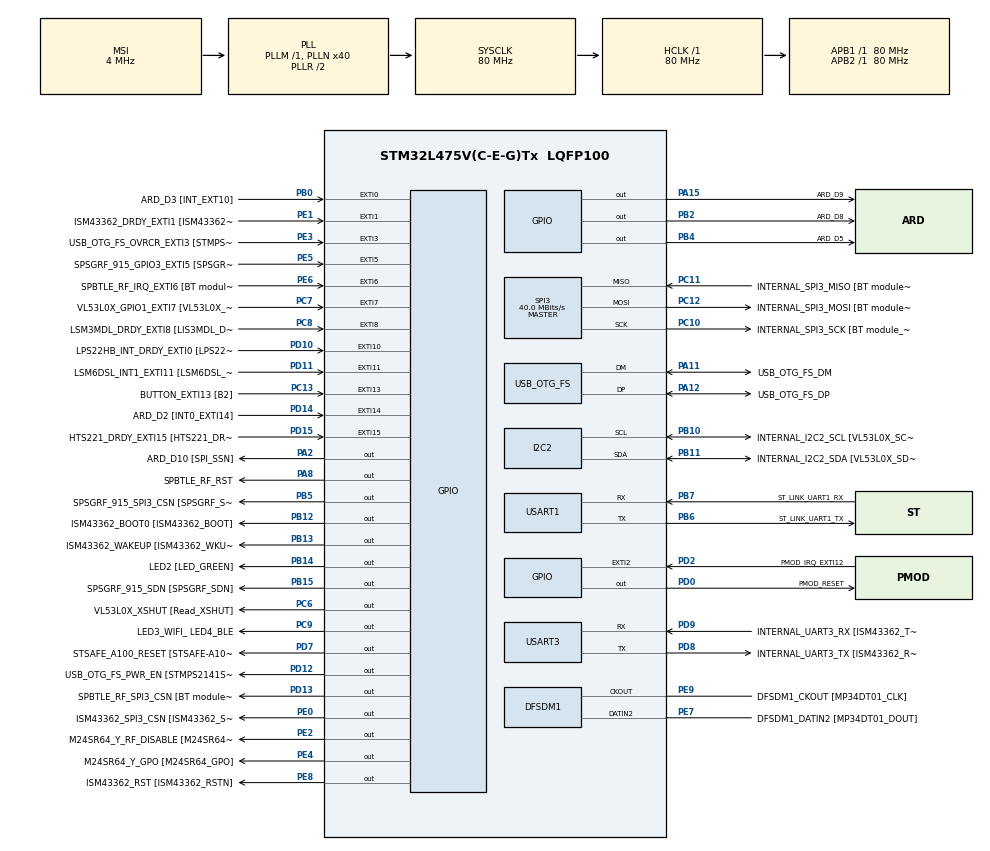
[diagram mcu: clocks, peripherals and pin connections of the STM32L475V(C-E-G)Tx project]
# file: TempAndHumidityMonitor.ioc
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Mcu.Family=STM32L4
Mcu.Name=STM32L475V(C-E-G)Tx
Mcu.Package=LQFP100
NVIC.EXTI15_10_IRQn=true\:0\:0\:false\:false\:true\:true
NVIC.EXTI9_5_IRQn=true\:0\:0\:false\:false\:true\:true
NVIC.PriorityGroup=NVIC_PRIORITYGROUP_4
NVIC.TIM1_BRK_TIM15_IRQn=true\:0\:0\:false\:false\:true\:true
PA0.GPIO_Label=ARD_D1 [UART4_TX]
PA0.Signal=UART4_TX
PA1.GPIO_Label=ARD_D0 [UART4_RX]
PA1.Signal=UART4_RX
PA10.GPIO_Label=USB_OTG_FS_ID
PA10.Signal=USB_OTG_FS_ID
PA11.GPIO_Label=USB_OTG_FS_DM
PA11.Mode=Device_Only
PA11.Signal=USB_OTG_FS_DM
PA12.GPIO_Label=USB_OTG_FS_DP
PA12.Mode=Device_Only
PA12.Signal=USB_OTG_FS_DP
PA13\ (JTMS-SWDIO).GPIO_Label=SYS_JTMS_SWDIO
PA13\ (JTMS-SWDIO).Mode=Serial_Wire
PA13\ (JTMS-SWDIO).Signal=SYS_JTMS-SWDIO
PA14\ (JTCK-SWCLK).GPIO_Label=SYS_JTCK_SWCLK
PA14\ (JTCK-SWCLK).Mode=Serial_Wire
PA14\ (JTCK-SWCLK).Signal=SYS_JTCK-SWCLK
PA15\ (JTDI).GPIO_Label=ARD_D9
PA15\ (JTDI).Signal=GPIO_Output
PA2.GPIO_Label=ARD_D10 [SPI_SSN]
PA2.Signal=GPIO_Output
PA3.GPIO_Label=ARD_D4
PA3.Signal=S_TIM2_CH4
PA4.GPIO_Label=ARD_D7
PA4.Signal=ADCx_IN9
PA5.GPIO_Label=ARD_D13 [SPI1_SCK]
PA5.Signal=SPI1_SCK
PA6.GPIO_Label=ARD_D12 [SPI1_MISO]
PA6.Signal=SPI1_MISO
PA7.GPIO_Label=ARD_D11 [SPI1_MOSI]
PA7.Signal=SPI1_MOSI
PA8.GPIO_Label=SPBTLE_RF_RST
PA8.Signal=GPIO_Output
PA9.GPIO_Label=USB_OTG_FS_VBUS [STMPS2141STR_OUT]
PA9.Signal=USB_OTG_FS_VBUS
PB0.GPIO_Label=ARD_D3 [INT_EXT10]
PB0.Signal=GPXTI0
PB1.GPIO_Label=ARD_D6 [ADC1_IN6]
PB1.Signal=ADCx_IN16
PB10.GPIO_Label=INTERNAL_I2C2_SCL [VL53L0X_SCL]
PB10.Mode=I2C
PB10.Signal=I2C2_SCL
PB11.GPIO_Label=INTERNAL_I2C2_SDA [VL53L0X_SDA]
PB11.Mode=I2C
PB11.Signal=I2C2_SDA
PB12.GPIO_Label=ISM43362_BOOT0 [ISM43362_BOOT]
PB12.Signal=GPIO_Output
PB13.GPIO_Label=ISM43362_WAKEUP [ISM43362_WKUP]
PB13.Signal=GPIO_Output
PB14.GPIO_Label=LED2 [LED_GREEN]
PB14.Signal=GPIO_Output
PB15.GPIO_Label=SPSGRF_915_SDN [SPSGRF_SDN]
PB15.Signal=GPIO_Output
PB2.GPIO_Label=ARD_D8
PB2.Signal=GPIO_Output
PB3\ (JTDO-TRACESWO).GPIO_Label=SYS_JTD0_SWO
PB3\ (JTDO-TRACESWO).Signal=SYS_JTDO-SWO
PB4\ (NJTRST).GPIO_Label=ARD_D5
PB4\ (NJTRST).Signal=GPIO_Output
PB5.GPIO_Label=SPSGRF_915_SPI3_CSN [SPSGRF_SPI_CS]
PB5.Signal=GPIO_Output
PB6.GPIO_Label=ST_LINK_UART1_TX
PB6.Mode=Asynchronous
PB6.Signal=USART1_TX
PB7.GPIO_Label=ST_LINK_UART1_RX
PB7.Mode=Asynchronous
PB7.Signal=USART1_RX
PB8.GPIO_Label=ARD_D15 [I2C1_SCL]
PB8.Signal=I2C1_SCL
PB9.GPIO_Label=ARD_D14 [I2C1_SDA]
PB9.Signal=I2C1_SDA
PC0.GPIO_Label=ARD_A5 [ADC]
PC0.Signal=ADCx_IN1
PC1.GPIO_Label=ARD_A4 [ADC]
PC1.Signal=ADCx_IN2
PC10.GPIO_Label=INTERNAL_SPI3_SCK [BT module_SPI_SCLK]
PC10.Mode=Full_Duplex_Master
PC10.Signal=SPI3_SCK
PC11.GPIO_Label=INTERNAL_SPI3_MISO [BT module_SPI_MISO]
PC11.Mode=Full_Duplex_Master
PC11.Signal=SPI3_MISO
PC12.GPIO_Label=INTERNAL_SPI3_MOSI [BT module_SPI_MOSI]
PC12.Mode=Full_Duplex_Master
PC12.Signal=SPI3_MOSI
PC13.GPIO_Label=BUTTON_EXTI13 [B2]
PC13.GPIO_ModeDefaultEXTI=GPIO_MODE_IT_FALLING
PC13.Signal=GPXTI13
PC14-OSC32_IN\ (PC14).Mode=LSE-External-Oscillator
PC14-OSC32_IN\ (PC14).Signal=RCC_OSC32_IN
PC15-OSC32_OUT\ (PC15).Mode=LSE-External-Oscillator
PC15-OSC32_OUT\ (PC15).Signal=RCC_OSC32_OUT
PC2.GPIO_Label=ARD_A3 [ADC]
PC2.Signal=ADCx_IN3
PC3.GPIO_Label=ARD_A2 [ADC]
PC3.Signal=ADCx_IN4
PC4.GPIO_Label=ARD_A1 [ADC]
PC4.Signal=ADCx_IN13
PC5.GPIO_Label=ARD_A0 [ADC]
PC5.Signal=ADCx_IN14
PC6.GPIO_Label=VL53L0X_XSHUT [Read_XSHUT]
PC6.Signal=GPIO_Output
PC7.GPIO_Label=VL53L0X_GPIO1_EXTI7 [VL53L0X_GPIO1]
PC7.Signal=GPXTI7
PC8.GPIO_Label=LSM3MDL_DRDY_EXTI8 [LIS3MDL_DRDY]
PC8.Signal=GPXTI8
PC9.GPIO_Label=LED3_WIFI_ LED4_BLE
PC9.Signal=GPIO_Output
PD0.GPIO_Label=PMOD_RESET
PD0.Signal=GPIO_Output
PD1.GPIO_Label=PMOD_SPI2_SCK
PD1.Signal=SPI2_SCK
PD10.GPIO_Label=LPS22HB_INT_DRDY_EXTI0 [LPS22HB_INT_DRDY] 
PD10.Signal=GPXTI10
PD11.GPIO_Label=LSM6DSL_INT1_EXTI11 [LSM6DSL_INT1]
PD11.Signal=GPXTI11
PD12.GPIO_Label=USB_OTG_FS_PWR_EN [STMPS2141STR_EN]
PD12.Signal=GPIO_Output
PD13.GPIO_Label=SPBTLE_RF_SPI3_CSN [BT module_SPI_CS]
PD13.Signal=GPIO_Output
PD14.GPIO_Label=ARD_D2 [INT0_EXTI14]
PD14.Signal=GPXTI14
PD15.GPIO_Label=HTS221_DRDY_EXTI15 [HTS221_DRDY]
PD15.Signal=GPXTI15
PD2.GPIO_Label=PMOD_IRQ_EXTI12
PD2.Signal=GPXTI2
PD3.GPIO_Label=PMOD_UART2_CTS
PD3.Signal=USART2_CTS
PD4.GPIO_Label=PMOD_UART2_RTS
PD4.Signal=USART2_RTS
PD5.GPIO_Label=PMOD_UART2_TX
PD5.Signal=USART2_TX
PD6.GPIO_Label=PMOD_UART2_RX
PD6.Signal=USART2_RX
PD7.GPIO_Label=STSAFE_A100_RESET [STSAFE-A100_RESET]
PD7.Signal=GPIO_Output
PD8.GPIO_Label=INTERNAL_UART3_TX [ISM43362_RX]
PD8.Mode=Asynchronous
PD8.Signal=USART3_TX
PD9.GPIO_Label=INTERNAL_UART3_RX [ISM43362_TX]
PD9.Mode=Asynchronous
PD9.Signal=USART3_RX
PE0.GPIO_Label=ISM43362_SPI3_CSN [ISM43362_SSN]
PE0.Signal=GPIO_Output
PE1.GPIO_Label=ISM43362_DRDY_EXTI1 [ISM43362_DATARDY]
PE1.Signal=GPXTI1
PE10.GPIO_Label=QUADSPI_CLK [MX25R6435F_SCLK]
PE10.Signal=QUADSPI_CLK
PE11.GPIO_Label=QUADSPI_NCS [MX25R6435F_SCLK]
PE11.Signal=QUADSPI_NCS
PE12.GPIO_Label=OQUADSPI_BK1_IO0 [MX25R6435F_IO0]
PE12.Signal=QUADSPI_BK1_IO0
PE13.GPIO_Label=QUADSPI_BK1_IO1 [MX25R6435F_IO1]
PE13.Signal=QUADSPI_BK1_IO1
PE14.GPIO_Label=QUAD_SPI_BK1_IO2 [MX25R6435F_IO2]
PE14.Signal=QUADSPI_BK1_IO2
PE15.GPIO_Label=QUAD_SPI_BK1_IO3 [MX25R6435F_IO3]
PE15.Signal=QUADSPI_BK1_IO3
PE2.GPIO_Label=M24SR64_Y_RF_DISABLE [M24SR64_RFDIS]
PE2.Signal=GPIO_Output
PE3.GPIO_Label=USB_OTG_FS_OVRCR_EXTI3 [STMPS2141STR_FAULT]
PE3.Signal=GPXTI3
PE4.GPIO_Label=M24SR64_Y_GPO [M24SR64_GPO]
PE4.Signal=GPIO_Output
PE5.GPIO_Label=SPSGRF_915_GPIO3_EXTI5 [SPSGRF_GPIO_3]
PE5.Signal=GPXTI5
PE6.GPIO_Label=SPBTLE_RF_IRQ_EXTI6 [BT module_SPI_IRQ]
PE6.Signal=GPXTI6
PE7.GPIO_Label=DFSDM1_DATIN2 [MP34DT01_DOUT]
PE7.Signal=S_DATAIN2DFSDM1
PE8.GPIO_Label=ISM43362_RST [ISM43362_RSTN]
PE8.Signal=GPIO_Output
PE9.GPIO_Label=DFSDM1_CKOUT [MP34DT01_CLK]
PE9.Signal=S_CKOUTDFSDM1
ProjectManager.HeapSize=0x200
ProjectManager.StackSize=0x400
ProjectManager.TargetToolchain=SW4STM32
RCC.ADCFreq_Value=48000000
RCC.AHBFreq_Value=80000000
RCC.APB1Freq_Value=80000000
RCC.APB1TimFreq_Value=80000000
RCC.APB2Freq_Value=80000000
RCC.APB2TimFreq_Value=80000000
RCC.CortexFreq_Value=80000000
RCC.HCLKFreq_Value=80000000
RCC.HSE_VALUE=8000000
RCC.HSI_VALUE=16000000
RCC.MSI_VALUE=4000000
RCC.PLLN=40
RCC.PLLSAI1N=24
RCC.SYSCLKFreq_VALUE=80000000
RCC.SYSCLKSource=RCC_SYSCLKSOURCE_PLLCLK
RCC.USBFreq_Value=48000000
RCC.VCOOutputFreq_Value=160000000
SH.ADCx_IN1.0=ADC1_IN1
SH.ADCx_IN13.0=ADC1_IN13
SH.ADCx_IN14.0=ADC1_IN14
SH.ADCx_IN16.0=ADC1_IN16
SH.ADCx_IN2.0=ADC1_IN2
SH.ADCx_IN3.0=ADC1_IN3
SH.ADCx_IN4.0=ADC1_IN4
SH.ADCx_IN9.0=ADC1_IN9
SH.S_CKOUTDFSDM1.0=DFSDM1_CKOUT,CKOUT
SH.S_CKOUTDFSDM1.1=DFSDM1_CKOUT,PDM_SPI_Input_from_ch12_and_Internal_Clock
SH.S_DATAIN2DFSDM1.0=DFSDM1_DATIN2,PDM_SPI_Input_from_ch12_and_Internal_Clock
SH.S_TIM2_CH4.0=TIM2_CH4
SPI3.CalculateBaudRate=40.0 MBits/s
SPI3.Direction=SPI_DIRECTION_2LINES
SPI3.Mode=SPI_MODE_MASTER
SPI3.VirtualType=VM_MASTER
TIM1.AutoReloadPreload=TIM_AUTORELOAD_PRELOAD_ENABLE
TIM1.Period=2048
TIM1.Prescaler=64
USART1.VirtualMode-Asynchronous=VM_ASYNC
USART3.VirtualMode-Asynchronous=VM_ASYNC
USB_OTG_FS.VirtualMode=Device_Only
VP_TIM1_VS_ClockSourceINT.Mode=Internal
board=B-L475E-IOT01A

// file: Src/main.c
/* USER CODE BEGIN Header */
/**
  ******************************************************************************
  * @file           : main.c
  * @brief          : Main program body
  * @Author			: Donald Posterick
  ******************************************************************************
  ** This notice applies to any and all portions of this file
  * that are not between comment pairs USER CODE BEGIN and
  * USER CODE END. Other portions of this file, whether
  * inserted by the user or by software development tools
  * are owned by their respective copyright owners.
  *
  * COPYRIGHT(c) 2019 STMicroelectronics
  *
  * Redistribution and use in source and binary forms, with or without modification,
  * are permitted provided that the following conditions are met:
  *   1. Redistributions of source code must retain the above copyright notice,
  *      this list of conditions and the following disclaimer.
  *   2. Redistributions in binary form must reproduce the above copyright notice,
  *      this list of conditions and the following disclaimer in the documentation
  *      and/or other materials provided with the distribution.
  *   3. Neither the name of STMicroelectronics nor the names of its contributors
  *      may be used to endorse or promote products derived from this software
  *      without specific prior written permission.
  *
  * THIS SOFTWARE IS PROVIDED BY THE COPYRIGHT HOLDERS AND CONTRIBUTORS "AS IS"
  * AND ANY EXPRESS OR IMPLIED WARRANTIES, INCLUDING, BUT NOT LIMITED TO, THE
  * IMPLIED WARRANTIES OF MERCHANTABILITY AND FITNESS FOR A PARTICULAR PURPOSE ARE
  * DISCLAIMED. IN NO EVENT SHALL THE COPYRIGHT HOLDER OR CONTRIBUTORS BE LIABLE
  * FOR ANY DIRECT, INDIRECT, INCIDENTAL, SPECIAL, EXEMPLARY, OR CONSEQUENTIAL
  * DAMAGES (INCLUDING, BUT NOT LIMITED TO, PROCUREMENT OF SUBSTITUTE GOODS OR
  * SERVICES; LOSS OF USE, DATA, OR PROFITS; OR BUSINESS INTERRUPTION) HOWEVER
  * CAUSED AND ON ANY THEORY OF LIABILITY, WHETHER IN CONTRACT, STRICT LIABILITY,
  * OR TORT (INCLUDING NEGLIGENCE OR OTHERWISE) ARISING IN ANY WAY OUT OF THE USE
  * OF THIS SOFTWARE, EVEN IF ADVISED OF THE POSSIBILITY OF SUCH DAMAGE.
  *
  ******************************************************************************
  */
/* USER CODE END Header */

#include <main.h>
#include <stm32_hal_legacy.h>
#include <stm32l475xx.h>
#include <stm32l4xx.h>
#include <stm32l4xx_hal_cortex.h>
#include <stm32l4xx_hal_def.h>
#include <stm32l4xx_hal_dfsdm.h>
#include <stm32l4xx_hal_flash.h>
#include <stm32l4xx_hal_gpio.h>
#include <stm32l4xx_hal_gpio_ex.h>
#include <stm32l4xx_hal_i2c.h>
#include <stm32l4xx_hal_i2c_ex.h>
#include <stm32l4xx_hal_pcd.h>
#include <stm32l4xx_hal_pwr.h>
#include <stm32l4xx_hal_pwr_ex.h>
#include <stm32l4xx_hal_rcc.h>
#include <stm32l4xx_hal_rcc_ex.h>
#include <stm32l4xx_hal_spi.h>
#include <stm32l4xx_hal_tim.h>
#include <stm32l4xx_hal_tim_ex.h>
#include <stm32l4xx_hal_uart.h>
#include <stm32l4xx_hal_uart_ex.h>
#include <stm32l4xx_ll_usb.h>
#include <sys/_stdint.h>
#include <stdio.h>

/* USER CODE END Includes */

/* USER CODE BEGIN PD */
#define HTSADDRRD 0xBF //HTS221 read address
#define HTSADDRWR 0xBE //HTS221 write address
/* USER CODE END PD */

DFSDM_Channel_HandleTypeDef hdfsdm1_channel1;

I2C_HandleTypeDef hi2c2;

SPI_HandleTypeDef hspi3;

TIM_HandleTypeDef htim1;

UART_HandleTypeDef huart1;
UART_HandleTypeDef huart3;

PCD_HandleTypeDef hpcd_USB_OTG_FS;

/* USER CODE BEGIN PV */
uint8_t rxBuffer[0x40];
uint8_t status = 0;

/*Calibration coefficients begin */
//Humidity calibration coefficients
uint8_t H0 = 0;
uint8_t H1 = 0;
int16_t H0_T0 = 0;
int16_t H1_T0 = 0;

//Temperature calibration coefficients
uint16_t T0 = 0; //actually only using 10 bits
uint16_t T1 = 0; //actually only using 10 bits
int16_t T0_OUT = 0;
int16_t T1_OUT = 0;

/*Caliobration coefficents end*/
/* USER CODE END PV */

void SystemClock_Config(void);
static void MX_GPIO_Init(void);
static void MX_DFSDM1_Init(void);
static void MX_I2C2_Init(void);
static void MX_SPI3_Init(void);
static void MX_USART1_UART_Init(void);
static void MX_USART3_UART_Init(void);
static void MX_USB_OTG_FS_PCD_Init(void);
static void MX_TIM1_Init(void);

/* USER CODE BEGIN 0 */

/*This will replace the syscall _write function allowing us to use printf and have it transmitted out the virtual com port*/
int _write(int file, char *ptr, int len)
{
	HAL_UART_Transmit(&huart1, (uint8_t*)ptr, len,100); //Transmit the array of characters of the passed in length via the UART port
	return len;
}
/*This will replace the syscall _read function allowing us to use scanf and have it read from the virtual com port*/
int _read (int file, char *ptr, int len)
{
	HAL_UART_Receive(&huart1, (uint8_t*)ptr, len, 100); //Receive array of characters from the virtual com port
	return len;
}

/*This function is automatically called when a timer elapses*/
void HAL_TIM_PeriodElapsedCallback(TIM_HandleTypeDef *htim){

	if(htim->Instance == htim1.Instance) //Verify that the interrupt is for the timer we are using
	{
		//ehh I might need this eventually.
	}
}

//For reading a single register at a time from the HTS211
uint8_t readHTSReg(uint8_t address){
	rxBuffer[0] = address;//place the desired address in the first position as the sub addr pointer

	status = HAL_I2C_Master_Transmit(&hi2c2, HTSADDRWR, rxBuffer,1,100);//send the sub addr to be received

	status = HAL_I2C_Master_Receive(&hi2c2, HTSADDRRD, rxBuffer, 1,100);//receive a byte from the sub addr sent before

	return rxBuffer[0];
}
/*
//For reading multiple registers in series
void readHTSReg(uint8_t address,uint8_t *buffer, uint8_t bytesToRead){
	rxBuffer[0] = address | 0x80;//configure address for continuous reads, automatically increments the sub addr pointer between bytes

	status = HAL_I2C_Master_Transmit(&hi2c2, HTSADDRWR, rxBuffer,1,100);//send the sub addr to be received

	status = HAL_I2C_Master_Receive(&hi2c2, HTSADDRRD, rxBuffer, bytesToRead,100);//receive n bytes in a row
}*/

void initHTS221(){

	  rxBuffer[0] = 0x10; //AV_CONF register address pointer
	  rxBuffer[1] = 0b00011011; //16 temp samples averaged, 32 humidity samples averaged

	  status = HAL_I2C_Master_Transmit(&hi2c2, HTSADDRWR, rxBuffer,2,500); //transmit the AV_CONF to the temp sensor
	  HAL_Delay(20);

	  rxBuffer[0] = 0x20; //CTRL_REG1
	  rxBuffer[1] = 0b10000010; //Active mode, and 7hz update rate for humidity and temp

	  status = HAL_I2C_Master_Transmit(&hi2c2, HTSADDRWR, rxBuffer,2,500); //Transmit the CTRL_REG to the sensor
	  HAL_Delay(20);

	  //Calibration coefficients retrieval below
	  H0 = readHTSReg(0x30) / 2; //stored multiplied by two
	  H1 = readHTSReg(0x31) / 2; //stored multiplied by two

	  H0_T0 = readHTSReg(0x36) | (readHTSReg(0x37)<<8); //grab the lsb and msb and convert to signed 16 bit int
	  H1_T0 = readHTSReg(0x3A) | (readHTSReg(0x3B)<<8); //grab the lsb and msb and convert to signed 16 bit int

	  /*The temperature calibration coefficients are 10 bit values where
	   *the MSB's of T0, and T1 is in address 0x35, and LSB's
	   *are in 0x32, and 0x33 */
	  uint8_t T1T0MSBs = readHTSReg(0x35); //b0 = T0.8, b1 = T0.9, b2 = T1.8, b3 = T1.9
	  uint8_t T0LSB = readHTSReg(0x32); //T0 lsb
	  uint8_t T1LSB = readHTSReg(0x33); //T1 lsb

	  T0 = ((T1T0MSBs & 0x03)<<8) | T0LSB; //converting into 10 bit value
	  T1 = ((T1T0MSBs & 0x0C)<<6) | T1LSB; //converting into 10 bit value

	  T0_OUT = (int16_t)(readHTSReg(0x3C) | (readHTSReg(0x3D)<<8)); //grab the lsb and msb and convert to signed 16 bit int
	  T1_OUT = (int16_t)(readHTSReg(0x3E) | (readHTSReg(0x3F)<<8)); //grab the lsb and msb and convert to signed 16 bit int
}

float getTemp(){
	int rawTemp = readHTSReg(0x2A) | (readHTSReg(0x2B)<<8); //read in the 16 bit raw temp value

	if(rawTemp > INT16_MAX)
	{	//for bounding into 16 bit range
		rawTemp -= UINT16_MAX;
	}

	/*Calculate the actual temperature using the raw ADC reading, the calibration coefficients, and some linear interpolation */
	float cTemp = (((T1 - T0) / 8.0) * (rawTemp - T0_OUT) / (T1_OUT - T0_OUT) + (T0/8.0));

	return cTemp;
}

float getHumid(){
	int16_t rawHumid = readHTSReg(0x28) | (readHTSReg(0x29)<<8); //read in the 16 bit raw humid value

	/*Calculate the actual humidity using the raw ADC reading, the calibration coefficients, and some linear interpolation */
	float humidity = ((1.0 * H1) - (1.0 * H0)) * ((1.0 * rawHumid) - (1.0 * H0_T0)) / ((1.0 * H1_T0) - (1.0 * H0_T0)) + (1.0 * H0);
	return humidity;
}
/* USER CODE END 0 */

int main(void)
{

  /* MCU Configuration--------------------------------------------------------*/

  /* Reset of all peripherals, Initializes the Flash interface and the Systick. */
  HAL_Init();

  /* Configure the system clock */
  SystemClock_Config();

  /* Initialize all configured peripherals */
  MX_GPIO_Init();
  MX_DFSDM1_Init();
  MX_I2C2_Init();
  MX_SPI3_Init();
  MX_USART1_UART_Init();
  MX_USART3_UART_Init();
  MX_USB_OTG_FS_PCD_Init();
  MX_TIM1_Init();
  /* USER CODE BEGIN 2 */

  /* Infinite loop */
  /* USER CODE BEGIN WHILE */

  initHTS221(); //Configures the HTS211, and gets the calibration coefficients required for conversions

  while (1)
  {
	  /* USER CODE BEGIN 3 */
	  float temp = getTemp(); //get the temperature from the sensor using i2c, and convert it to Celsius
	  float humid = getHumid(); //get the humidity from the sensor using i2c, and convert it to relative humidity
	  printf("The temperature is: %.2f C \t", temp); //print out the temperature with 2 points of decimal precision
	  printf("The humidity is %.2f RH \n\r", humid); //print out the humidity with 2 points of decimal precision

	  HAL_Delay(1000); //wait a second
	  /* USER CODE END 3 */
  }

}

void SystemClock_Config(void)
{
  RCC_OscInitTypeDef RCC_OscInitStruct = {0};
  RCC_ClkInitTypeDef RCC_ClkInitStruct = {0};
  RCC_PeriphCLKInitTypeDef PeriphClkInit = {0};

  /**Configure LSE Drive Capability
  */
  HAL_PWR_EnableBkUpAccess();
  __HAL_RCC_LSEDRIVE_CONFIG(RCC_LSEDRIVE_LOW);
  /**Initializes the CPU, AHB and APB busses clocks
  */
  RCC_OscInitStruct.OscillatorType = RCC_OSCILLATORTYPE_LSE|RCC_OSCILLATORTYPE_MSI;
  RCC_OscInitStruct.LSEState = RCC_LSE_ON;
  RCC_OscInitStruct.MSIState = RCC_MSI_ON;
  RCC_OscInitStruct.MSICalibrationValue = 0;
  RCC_OscInitStruct.MSIClockRange = RCC_MSIRANGE_6;
  RCC_OscInitStruct.PLL.PLLState = RCC_PLL_ON;
  RCC_OscInitStruct.PLL.PLLSource = RCC_PLLSOURCE_MSI;
  RCC_OscInitStruct.PLL.PLLM = 1;
  RCC_OscInitStruct.PLL.PLLN = 40;
  RCC_OscInitStruct.PLL.PLLP = RCC_PLLP_DIV7;
  RCC_OscInitStruct.PLL.PLLQ = RCC_PLLQ_DIV2;
  RCC_OscInitStruct.PLL.PLLR = RCC_PLLR_DIV2;
  if (HAL_RCC_OscConfig(&RCC_OscInitStruct) != HAL_OK)
  {
    Error_Handler();
  }
  /**Initializes the CPU, AHB and APB busses clocks
  */
  RCC_ClkInitStruct.ClockType = RCC_CLOCKTYPE_HCLK|RCC_CLOCKTYPE_SYSCLK
                              |RCC_CLOCKTYPE_PCLK1|RCC_CLOCKTYPE_PCLK2;
  RCC_ClkInitStruct.SYSCLKSource = RCC_SYSCLKSOURCE_PLLCLK;
  RCC_ClkInitStruct.AHBCLKDivider = RCC_SYSCLK_DIV1;
  RCC_ClkInitStruct.APB1CLKDivider = RCC_HCLK_DIV1;
  RCC_ClkInitStruct.APB2CLKDivider = RCC_HCLK_DIV1;

  if (HAL_RCC_ClockConfig(&RCC_ClkInitStruct, FLASH_LATENCY_4) != HAL_OK)
  {
    Error_Handler();
  }
  PeriphClkInit.PeriphClockSelection = RCC_PERIPHCLK_USART1|RCC_PERIPHCLK_USART3
                              |RCC_PERIPHCLK_I2C2|RCC_PERIPHCLK_DFSDM1
                              |RCC_PERIPHCLK_USB;
  PeriphClkInit.Usart1ClockSelection = RCC_USART1CLKSOURCE_PCLK2;
  PeriphClkInit.Usart3ClockSelection = RCC_USART3CLKSOURCE_PCLK1;
  PeriphClkInit.I2c2ClockSelection = RCC_I2C2CLKSOURCE_PCLK1;
  PeriphClkInit.Dfsdm1ClockSelection = RCC_DFSDM1CLKSOURCE_PCLK;
  PeriphClkInit.UsbClockSelection = RCC_USBCLKSOURCE_PLLSAI1;
  PeriphClkInit.PLLSAI1.PLLSAI1Source = RCC_PLLSOURCE_MSI;
  PeriphClkInit.PLLSAI1.PLLSAI1M = 1;
  PeriphClkInit.PLLSAI1.PLLSAI1N = 24;
  PeriphClkInit.PLLSAI1.PLLSAI1P = RCC_PLLP_DIV7;
  PeriphClkInit.PLLSAI1.PLLSAI1Q = RCC_PLLQ_DIV2;
  PeriphClkInit.PLLSAI1.PLLSAI1R = RCC_PLLR_DIV2;
  PeriphClkInit.PLLSAI1.PLLSAI1ClockOut = RCC_PLLSAI1_48M2CLK;
  if (HAL_RCCEx_PeriphCLKConfig(&PeriphClkInit) != HAL_OK)
  {
    Error_Handler();
  }
  /**Configure the main internal regulator output voltage
  */
  if (HAL_PWREx_ControlVoltageScaling(PWR_REGULATOR_VOLTAGE_SCALE1) != HAL_OK)
  {
    Error_Handler();
  }
  /**Enable MSI Auto calibration
  */
  HAL_RCCEx_EnableMSIPLLMode();
}

static void MX_DFSDM1_Init(void)
{

  hdfsdm1_channel1.Instance = DFSDM1_Channel1;
  hdfsdm1_channel1.Init.OutputClock.Activation = ENABLE;
  hdfsdm1_channel1.Init.OutputClock.Selection = DFSDM_CHANNEL_OUTPUT_CLOCK_SYSTEM;
  hdfsdm1_channel1.Init.OutputClock.Divider = 2;
  hdfsdm1_channel1.Init.Input.Multiplexer = DFSDM_CHANNEL_EXTERNAL_INPUTS;
  hdfsdm1_channel1.Init.Input.DataPacking = DFSDM_CHANNEL_STANDARD_MODE;
  hdfsdm1_channel1.Init.Input.Pins = DFSDM_CHANNEL_FOLLOWING_CHANNEL_PINS;
  hdfsdm1_channel1.Init.SerialInterface.Type = DFSDM_CHANNEL_SPI_RISING;
  hdfsdm1_channel1.Init.SerialInterface.SpiClock = DFSDM_CHANNEL_SPI_CLOCK_INTERNAL;
  hdfsdm1_channel1.Init.Awd.FilterOrder = DFSDM_CHANNEL_FASTSINC_ORDER;
  hdfsdm1_channel1.Init.Awd.Oversampling = 1;
  hdfsdm1_channel1.Init.Offset = 0;
  hdfsdm1_channel1.Init.RightBitShift = 0x00;
  if (HAL_DFSDM_ChannelInit(&hdfsdm1_channel1) != HAL_OK)
  {
    Error_Handler();
  }

}

static void MX_I2C2_Init(void)
{

  hi2c2.Instance = I2C2;
  hi2c2.Init.Timing = 0x10909CEC;
  hi2c2.Init.OwnAddress1 = 0;
  hi2c2.Init.AddressingMode = I2C_ADDRESSINGMODE_7BIT;
  hi2c2.Init.DualAddressMode = I2C_DUALADDRESS_DISABLE;
  hi2c2.Init.OwnAddress2 = 0;
  hi2c2.Init.OwnAddress2Masks = I2C_OA2_NOMASK;
  hi2c2.Init.GeneralCallMode = I2C_GENERALCALL_DISABLE;
  hi2c2.Init.NoStretchMode = I2C_NOSTRETCH_DISABLE;
  if (HAL_I2C_Init(&hi2c2) != HAL_OK)
  {
    Error_Handler();
  }
  /**Configure Analogue filter
  */
  if (HAL_I2CEx_ConfigAnalogFilter(&hi2c2, I2C_ANALOGFILTER_ENABLE) != HAL_OK)
  {
    Error_Handler();
  }
  /**Configure Digital filter
  */
  if (HAL_I2CEx_ConfigDigitalFilter(&hi2c2, 0) != HAL_OK)
  {
    Error_Handler();
  }

}

static void MX_SPI3_Init(void)
{

  /* SPI3 parameter configuration*/
  hspi3.Instance = SPI3;
  hspi3.Init.Mode = SPI_MODE_MASTER;
  hspi3.Init.Direction = SPI_DIRECTION_2LINES;
  hspi3.Init.DataSize = SPI_DATASIZE_4BIT;
  hspi3.Init.CLKPolarity = SPI_POLARITY_LOW;
  hspi3.Init.CLKPhase = SPI_PHASE_1EDGE;
  hspi3.Init.NSS = SPI_NSS_SOFT;
  hspi3.Init.BaudRatePrescaler = SPI_BAUDRATEPRESCALER_2;
  hspi3.Init.FirstBit = SPI_FIRSTBIT_MSB;
  hspi3.Init.TIMode = SPI_TIMODE_DISABLE;
  hspi3.Init.CRCCalculation = SPI_CRCCALCULATION_DISABLE;
  hspi3.Init.CRCPolynomial = 7;
  hspi3.Init.CRCLength = SPI_CRC_LENGTH_DATASIZE;
  hspi3.Init.NSSPMode = SPI_NSS_PULSE_ENABLE;
  if (HAL_SPI_Init(&hspi3) != HAL_OK)
  {
    Error_Handler();
  }

}

static void MX_TIM1_Init(void)
{

  TIM_ClockConfigTypeDef sClockSourceConfig = {0};
  TIM_MasterConfigTypeDef sMasterConfig = {0};

  htim1.Instance = TIM1;
  htim1.Init.Prescaler = 64;
  htim1.Init.CounterMode = TIM_COUNTERMODE_UP;
  htim1.Init.Period = 2048;
  htim1.Init.ClockDivision = TIM_CLOCKDIVISION_DIV1;
  htim1.Init.RepetitionCounter = 0;
  htim1.Init.AutoReloadPreload = TIM_AUTORELOAD_PRELOAD_ENABLE;
  if (HAL_TIM_Base_Init(&htim1) != HAL_OK)
  {
    Error_Handler();
  }
  sClockSourceConfig.ClockSource = TIM_CLOCKSOURCE_INTERNAL;
  if (HAL_TIM_ConfigClockSource(&htim1, &sClockSourceConfig) != HAL_OK)
  {
    Error_Handler();
  }
  sMasterConfig.MasterOutputTrigger = TIM_TRGO_RESET;
  sMasterConfig.MasterOutputTrigger2 = TIM_TRGO2_RESET;
  sMasterConfig.MasterSlaveMode = TIM_MASTERSLAVEMODE_DISABLE;
  if (HAL_TIMEx_MasterConfigSynchronization(&htim1, &sMasterConfig) != HAL_OK)
  {
    Error_Handler();
  }

}

static void MX_USART1_UART_Init(void)
{

  huart1.Instance = USART1;
  huart1.Init.BaudRate = 115200;
  huart1.Init.WordLength = UART_WORDLENGTH_8B;
  huart1.Init.StopBits = UART_STOPBITS_1;
  huart1.Init.Parity = UART_PARITY_NONE;
  huart1.Init.Mode = UART_MODE_TX_RX;
  huart1.Init.HwFlowCtl = UART_HWCONTROL_NONE;
  huart1.Init.OverSampling = UART_OVERSAMPLING_16;
  huart1.Init.OneBitSampling = UART_ONE_BIT_SAMPLE_DISABLE;
  huart1.AdvancedInit.AdvFeatureInit = UART_ADVFEATURE_NO_INIT;
  if (HAL_UART_Init(&huart1) != HAL_OK)
  {
    Error_Handler();
  }

}

static void MX_USART3_UART_Init(void)
{

  huart3.Instance = USART3;
  huart3.Init.BaudRate = 115200;
  huart3.Init.WordLength = UART_WORDLENGTH_8B;
  huart3.Init.StopBits = UART_STOPBITS_1;
  huart3.Init.Parity = UART_PARITY_NONE;
  huart3.Init.Mode = UART_MODE_TX_RX;
  huart3.Init.HwFlowCtl = UART_HWCONTROL_NONE;
  huart3.Init.OverSampling = UART_OVERSAMPLING_16;
  huart3.Init.OneBitSampling = UART_ONE_BIT_SAMPLE_DISABLE;
  huart3.AdvancedInit.AdvFeatureInit = UART_ADVFEATURE_NO_INIT;
  if (HAL_UART_Init(&huart3) != HAL_OK)
  {
    Error_Handler();
  }

}

static void MX_USB_OTG_FS_PCD_Init(void)
{

  hpcd_USB_OTG_FS.Instance = USB_OTG_FS;
  hpcd_USB_OTG_FS.Init.dev_endpoints = 6;
  hpcd_USB_OTG_FS.Init.speed = PCD_SPEED_FULL;
  hpcd_USB_OTG_FS.Init.ep0_mps = DEP0CTL_MPS_64;
  hpcd_USB_OTG_FS.Init.phy_itface = PCD_PHY_EMBEDDED;
  hpcd_USB_OTG_FS.Init.Sof_enable = DISABLE;
  hpcd_USB_OTG_FS.Init.low_power_enable = DISABLE;
  hpcd_USB_OTG_FS.Init.lpm_enable = DISABLE;
  hpcd_USB_OTG_FS.Init.battery_charging_enable = DISABLE;
  hpcd_USB_OTG_FS.Init.use_dedicated_ep1 = DISABLE;
  hpcd_USB_OTG_FS.Init.vbus_sensing_enable = DISABLE;
  if (HAL_PCD_Init(&hpcd_USB_OTG_FS) != HAL_OK)
  {
    Error_Handler();
  }

}

static void MX_GPIO_Init(void)
{
  GPIO_InitTypeDef GPIO_InitStruct = {0};

  /* GPIO Ports Clock Enable */
  __HAL_RCC_GPIOE_CLK_ENABLE();
  __HAL_RCC_GPIOC_CLK_ENABLE();
  __HAL_RCC_GPIOA_CLK_ENABLE();
  __HAL_RCC_GPIOB_CLK_ENABLE();
  __HAL_RCC_GPIOD_CLK_ENABLE();

  /*Configure GPIO pin Output Level */
  HAL_GPIO_WritePin(GPIOE, M24SR64_Y_RF_DISABLE_Pin|M24SR64_Y_GPO_Pin|ISM43362_RST_Pin|ISM43362_SPI3_CSN_Pin, GPIO_PIN_RESET);

  /*Configure GPIO pin Output Level */
  HAL_GPIO_WritePin(GPIOA, ARD_D10_Pin|SPBTLE_RF_RST_Pin|ARD_D9_Pin, GPIO_PIN_RESET);

  /*Configure GPIO pin Output Level */
  HAL_GPIO_WritePin(GPIOB, ARD_D8_Pin|ISM43362_BOOT0_Pin|ISM43362_WAKEUP_Pin|LED2_Pin
                          |SPSGRF_915_SDN_Pin|ARD_D5_Pin|SPSGRF_915_SPI3_CSN_Pin, GPIO_PIN_RESET);

  /*Configure GPIO pin Output Level */
  HAL_GPIO_WritePin(GPIOD, USB_OTG_FS_PWR_EN_Pin|SPBTLE_RF_SPI3_CSN_Pin|PMOD_RESET_Pin|STSAFE_A100_RESET_Pin, GPIO_PIN_RESET);

  /*Configure GPIO pin Output Level */
  HAL_GPIO_WritePin(GPIOC, VL53L0X_XSHUT_Pin|LED3_WIFI__LED4_BLE_Pin, GPIO_PIN_RESET);

  /*Configure GPIO pins : M24SR64_Y_RF_DISABLE_Pin M24SR64_Y_GPO_Pin ISM43362_RST_Pin ISM43362_SPI3_CSN_Pin */
  GPIO_InitStruct.Pin = M24SR64_Y_RF_DISABLE_Pin|M24SR64_Y_GPO_Pin|ISM43362_RST_Pin|ISM43362_SPI3_CSN_Pin;
  GPIO_InitStruct.Mode = GPIO_MODE_OUTPUT_PP;
  GPIO_InitStruct.Pull = GPIO_NOPULL;
  GPIO_InitStruct.Speed = GPIO_SPEED_FREQ_LOW;
  HAL_GPIO_Init(GPIOE, &GPIO_InitStruct);

  /*Configure GPIO pins : USB_OTG_FS_OVRCR_EXTI3_Pin SPSGRF_915_GPIO3_EXTI5_Pin SPBTLE_RF_IRQ_EXTI6_Pin ISM43362_DRDY_EXTI1_Pin */
  GPIO_InitStruct.Pin = USB_OTG_FS_OVRCR_EXTI3_Pin|SPSGRF_915_GPIO3_EXTI5_Pin|SPBTLE_RF_IRQ_EXTI6_Pin|ISM43362_DRDY_EXTI1_Pin;
  GPIO_InitStruct.Mode = GPIO_MODE_IT_RISING;
  GPIO_InitStruct.Pull = GPIO_NOPULL;
  HAL_GPIO_Init(GPIOE, &GPIO_InitStruct);

  /*Configure GPIO pin : BUTTON_EXTI13_Pin */
  GPIO_InitStruct.Pin = BUTTON_EXTI13_Pin;
  GPIO_InitStruct.Mode = GPIO_MODE_IT_FALLING;
  GPIO_InitStruct.Pull = GPIO_NOPULL;
  HAL_GPIO_Init(BUTTON_EXTI13_GPIO_Port, &GPIO_InitStruct);

  /*Configure GPIO pins : ARD_A5_Pin ARD_A4_Pin ARD_A3_Pin ARD_A2_Pin
                           ARD_A1_Pin ARD_A0_Pin */
  GPIO_InitStruct.Pin = ARD_A5_Pin|ARD_A4_Pin|ARD_A3_Pin|ARD_A2_Pin
                          |ARD_A1_Pin|ARD_A0_Pin;
  GPIO_InitStruct.Mode = GPIO_MODE_ANALOG_ADC_CONTROL;
  GPIO_InitStruct.Pull = GPIO_NOPULL;
  HAL_GPIO_Init(GPIOC, &GPIO_InitStruct);

  /*Configure GPIO pins : ARD_D1_Pin ARD_D0_Pin */
  GPIO_InitStruct.Pin = ARD_D1_Pin|ARD_D0_Pin;
  GPIO_InitStruct.Mode = GPIO_MODE_AF_PP;
  GPIO_InitStruct.Pull = GPIO_NOPULL;
  GPIO_InitStruct.Speed = GPIO_SPEED_FREQ_VERY_HIGH;
  GPIO_InitStruct.Alternate = GPIO_AF8_UART4;
  HAL_GPIO_Init(GPIOA, &GPIO_InitStruct);

  /*Configure GPIO pins : ARD_D10_Pin SPBTLE_RF_RST_Pin ARD_D9_Pin */
  GPIO_InitStruct.Pin = ARD_D10_Pin|SPBTLE_RF_RST_Pin|ARD_D9_Pin;
  GPIO_InitStruct.Mode = GPIO_MODE_OUTPUT_PP;
  GPIO_InitStruct.Pull = GPIO_NOPULL;
  GPIO_InitStruct.Speed = GPIO_SPEED_FREQ_LOW;
  HAL_GPIO_Init(GPIOA, &GPIO_InitStruct);

  /*Configure GPIO pin : ARD_D4_Pin */
  GPIO_InitStruct.Pin = ARD_D4_Pin;
  GPIO_InitStruct.Mode = GPIO_MODE_AF_PP;
  GPIO_InitStruct.Pull = GPIO_NOPULL;
  GPIO_InitStruct.Speed = GPIO_SPEED_FREQ_LOW;
  GPIO_InitStruct.Alternate = GPIO_AF1_TIM2;
  HAL_GPIO_Init(ARD_D4_GPIO_Port, &GPIO_InitStruct);

  /*Configure GPIO pin : ARD_D7_Pin */
  GPIO_InitStruct.Pin = ARD_D7_Pin;
  GPIO_InitStruct.Mode = GPIO_MODE_ANALOG_ADC_CONTROL;
  GPIO_InitStruct.Pull = GPIO_NOPULL;
  HAL_GPIO_Init(ARD_D7_GPIO_Port, &GPIO_InitStruct);

  /*Configure GPIO pins : ARD_D13_Pin ARD_D12_Pin ARD_D11_Pin */
  GPIO_InitStruct.Pin = ARD_D13_Pin|ARD_D12_Pin|ARD_D11_Pin;
  GPIO_InitStruct.Mode = GPIO_MODE_AF_PP;
  GPIO_InitStruct.Pull = GPIO_NOPULL;
  GPIO_InitStruct.Speed = GPIO_SPEED_FREQ_VERY_HIGH;
  GPIO_InitStruct.Alternate = GPIO_AF5_SPI1;
  HAL_GPIO_Init(GPIOA, &GPIO_InitStruct);

  /*Configure GPIO pin : ARD_D3_Pin */
  GPIO_InitStruct.Pin = ARD_D3_Pin;
  GPIO_InitStruct.Mode = GPIO_MODE_IT_RISING;
  GPIO_InitStruct.Pull = GPIO_NOPULL;
  HAL_GPIO_Init(ARD_D3_GPIO_Port, &GPIO_InitStruct);

  /*Configure GPIO pin : ARD_D6_Pin */
  GPIO_InitStruct.Pin = ARD_D6_Pin;
  GPIO_InitStruct.Mode = GPIO_MODE_ANALOG_ADC_CONTROL;
  GPIO_InitStruct.Pull = GPIO_NOPULL;
  HAL_GPIO_Init(ARD_D6_GPIO_Port, &GPIO_InitStruct);

  /*Configure GPIO pins : ARD_D8_Pin ISM43362_BOOT0_Pin ISM43362_WAKEUP_Pin LED2_Pin
                           SPSGRF_915_SDN_Pin ARD_D5_Pin SPSGRF_915_SPI3_CSN_Pin */
  GPIO_InitStruct.Pin = ARD_D8_Pin|ISM43362_BOOT0_Pin|ISM43362_WAKEUP_Pin|LED2_Pin
                          |SPSGRF_915_SDN_Pin|ARD_D5_Pin|SPSGRF_915_SPI3_CSN_Pin;
  GPIO_InitStruct.Mode = GPIO_MODE_OUTPUT_PP;
  GPIO_InitStruct.Pull = GPIO_NOPULL;
  GPIO_InitStruct.Speed = GPIO_SPEED_FREQ_LOW;
  HAL_GPIO_Init(GPIOB, &GPIO_InitStruct);

  /*Configure GPIO pins : QUADSPI_CLK_Pin QUADSPI_NCS_Pin OQUADSPI_BK1_IO0_Pin QUADSPI_BK1_IO1_Pin
                           QUAD_SPI_BK1_IO2_Pin QUAD_SPI_BK1_IO3_Pin */
  GPIO_InitStruct.Pin = QUADSPI_CLK_Pin|QUADSPI_NCS_Pin|OQUADSPI_BK1_IO0_Pin|QUADSPI_BK1_IO1_Pin
                          |QUAD_SPI_BK1_IO2_Pin|QUAD_SPI_BK1_IO3_Pin;
  GPIO_InitStruct.Mode = GPIO_MODE_AF_PP;
  GPIO_InitStruct.Pull = GPIO_NOPULL;
  GPIO_InitStruct.Speed = GPIO_SPEED_FREQ_VERY_HIGH;
  GPIO_InitStruct.Alternate = GPIO_AF10_QUADSPI;
  HAL_GPIO_Init(GPIOE, &GPIO_InitStruct);

  /*Configure GPIO pins : LPS22HB_INT_DRDY_EXTI0_Pin LSM6DSL_INT1_EXTI11_Pin ARD_D2_Pin HTS221_DRDY_EXTI15_Pin
                           PMOD_IRQ_EXTI12_Pin */
  GPIO_InitStruct.Pin = LPS22HB_INT_DRDY_EXTI0_Pin|LSM6DSL_INT1_EXTI11_Pin|ARD_D2_Pin|HTS221_DRDY_EXTI15_Pin
                          |PMOD_IRQ_EXTI12_Pin;
  GPIO_InitStruct.Mode = GPIO_MODE_IT_RISING;
  GPIO_InitStruct.Pull = GPIO_NOPULL;
  HAL_GPIO_Init(GPIOD, &GPIO_InitStruct);

  /*Configure GPIO pins : USB_OTG_FS_PWR_EN_Pin SPBTLE_RF_SPI3_CSN_Pin PMOD_RESET_Pin STSAFE_A100_RESET_Pin */
  GPIO_InitStruct.Pin = USB_OTG_FS_PWR_EN_Pin|SPBTLE_RF_SPI3_CSN_Pin|PMOD_RESET_Pin|STSAFE_A100_RESET_Pin;
  GPIO_InitStruct.Mode = GPIO_MODE_OUTPUT_PP;
  GPIO_InitStruct.Pull = GPIO_NOPULL;
  GPIO_InitStruct.Speed = GPIO_SPEED_FREQ_LOW;
  HAL_GPIO_Init(GPIOD, &GPIO_InitStruct);

  /*Configure GPIO pins : VL53L0X_XSHUT_Pin LED3_WIFI__LED4_BLE_Pin */
  GPIO_InitStruct.Pin = VL53L0X_XSHUT_Pin|LED3_WIFI__LED4_BLE_Pin;
  GPIO_InitStruct.Mode = GPIO_MODE_OUTPUT_PP;
  GPIO_InitStruct.Pull = GPIO_NOPULL;
  GPIO_InitStruct.Speed = GPIO_SPEED_FREQ_LOW;
  HAL_GPIO_Init(GPIOC, &GPIO_InitStruct);

  /*Configure GPIO pins : VL53L0X_GPIO1_EXTI7_Pin LSM3MDL_DRDY_EXTI8_Pin */
  GPIO_InitStruct.Pin = VL53L0X_GPIO1_EXTI7_Pin|LSM3MDL_DRDY_EXTI8_Pin;
  GPIO_InitStruct.Mode = GPIO_MODE_IT_RISING;
  GPIO_InitStruct.Pull = GPIO_NOPULL;
  HAL_GPIO_Init(GPIOC, &GPIO_InitStruct);

  /*Configure GPIO pin : PMOD_SPI2_SCK_Pin */
  GPIO_InitStruct.Pin = PMOD_SPI2_SCK_Pin;
  GPIO_InitStruct.Mode = GPIO_MODE_AF_PP;
  GPIO_InitStruct.Pull = GPIO_NOPULL;
  GPIO_InitStruct.Speed = GPIO_SPEED_FREQ_VERY_HIGH;
  GPIO_InitStruct.Alternate = GPIO_AF5_SPI2;
  HAL_GPIO_Init(PMOD_SPI2_SCK_GPIO_Port, &GPIO_InitStruct);

  /*Configure GPIO pins : PMOD_UART2_CTS_Pin PMOD_UART2_RTS_Pin PMOD_UART2_TX_Pin PMOD_UART2_RX_Pin */
  GPIO_InitStruct.Pin = PMOD_UART2_CTS_Pin|PMOD_UART2_RTS_Pin|PMOD_UART2_TX_Pin|PMOD_UART2_RX_Pin;
  GPIO_InitStruct.Mode = GPIO_MODE_AF_PP;
  GPIO_InitStruct.Pull = GPIO_NOPULL;
  GPIO_InitStruct.Speed = GPIO_SPEED_FREQ_VERY_HIGH;
  GPIO_InitStruct.Alternate = GPIO_AF7_USART2;
  HAL_GPIO_Init(GPIOD, &GPIO_InitStruct);

  /*Configure GPIO pins : ARD_D15_Pin ARD_D14_Pin */
  GPIO_InitStruct.Pin = ARD_D15_Pin|ARD_D14_Pin;
  GPIO_InitStruct.Mode = GPIO_MODE_AF_OD;
  GPIO_InitStruct.Pull = GPIO_PULLUP;
  GPIO_InitStruct.Speed = GPIO_SPEED_FREQ_VERY_HIGH;
  GPIO_InitStruct.Alternate = GPIO_AF4_I2C1;
  HAL_GPIO_Init(GPIOB, &GPIO_InitStruct);

  /* EXTI interrupt init*/
  HAL_NVIC_SetPriority(EXTI9_5_IRQn, 0, 0);
  HAL_NVIC_EnableIRQ(EXTI9_5_IRQn);

  HAL_NVIC_SetPriority(EXTI15_10_IRQn, 0, 0);
  HAL_NVIC_EnableIRQ(EXTI15_10_IRQn);

}

void Error_Handler(void)
{
}

/************************ (C) COPYRIGHT STMicroelectronics *****END OF FILE****/
